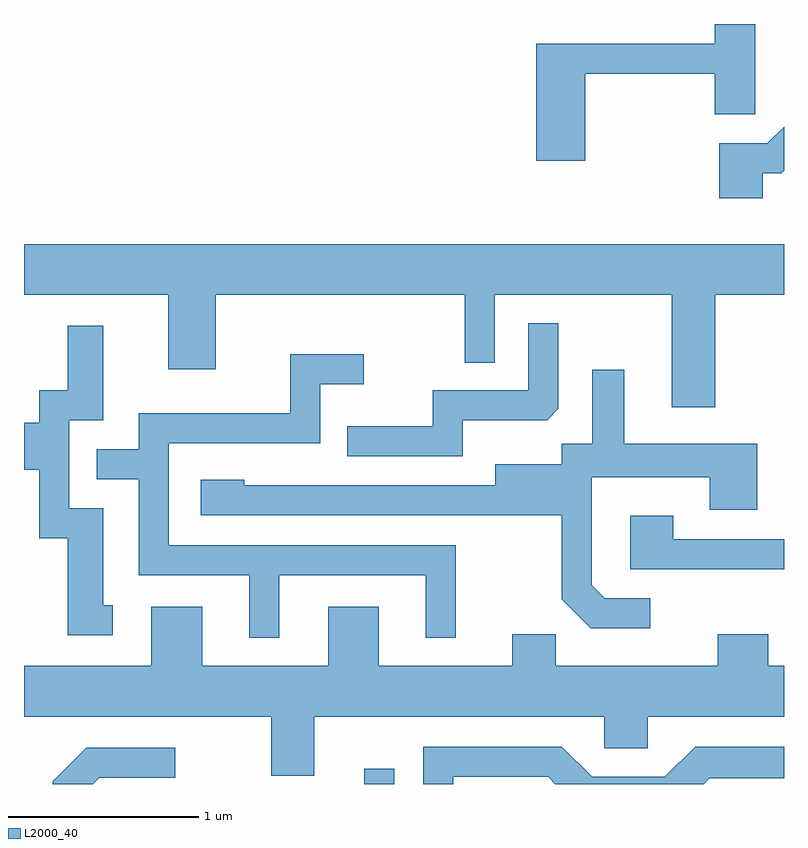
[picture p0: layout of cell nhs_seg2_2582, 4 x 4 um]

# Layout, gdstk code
import gdstk
lib = gdstk.Library(unit=1e-6, precision=1e-09)
def R(c, l, rs):  # rectangles x0, y0, x1, y1
    for r in rs: c.add(gdstk.rectangle(r[:2], r[2:], *l))
def P(c, l, *ps):  # polygons
    for p in ps: c.add(gdstk.Polygon(p, *l))
L2000_40 = (2000, 40)

nhs_seg2_2582 = lib.new_cell('nhs_seg2_2582')
R(nhs_seg2_2582, L2000_40, [(263.401,985.802,263.559,985.883)])
P(nhs_seg2_2582, L2000_40, [(264.564,989.541),(265.246,989.541),(265.246,989.326),(265.459,989.326),(265.459,989.802),(265.246,989.802),(265.246,989.699),(264.306,989.699),(264.306,989.081),(264.564,989.081)],
  [(265.499,989.016),(265.597,989.016),(265.611,989.03),(265.611,989.262),(265.524,989.174),(265.271,989.174),(265.271,988.886),(265.499,988.886)],
  [(265.249,988.376),(265.611,988.376),(265.611,988.644),(261.611,988.644),(261.611,988.376),(262.371,988.376),(262.371,987.986),(262.619,987.986),(262.619,988.376),(263.931,988.376),(263.931,988.018),(264.089,988.018),(264.089,988.376),(265.021,988.376),(265.021,987.786),(265.249,987.786)],
  [(263.919,987.716),(264.364,987.716),(264.424,987.777),(264.424,988.228),(264.266,988.228),(264.266,987.874),(263.761,987.874),(263.761,987.684),(263.313,987.684),(263.313,987.526),(263.919,987.526)],
  [(262.078,986.744),(262.029,986.744),(262.029,987.254),(261.849,987.254),(261.849,987.716),(262.029,987.716),(262.029,988.214),(261.841,988.214),(261.841,987.874),(261.691,987.874),(261.691,987.704),(261.611,987.704),(261.611,987.456),(261.691,987.456),(261.691,987.096),(261.841,987.096),(261.841,986.586),(262.078,986.586)],
  [(262.954,986.901),(263.726,986.901),(263.726,986.573),(263.884,986.573),(263.884,987.059),(262.374,987.059),(262.374,987.596),(263.169,987.596),(263.169,987.906),(263.398,987.906),(263.398,988.064),(263.011,988.064),(263.011,987.754),(262.216,987.754),(262.216,987.564),(261.993,987.564),(261.993,987.406),(262.216,987.406),(262.216,986.901),(262.796,986.901),(262.796,986.573),(262.954,986.573)],
  [(264.908,986.779),(264.667,986.779),(264.599,986.847),(264.599,987.416),(265.221,987.416),(265.221,987.246),(265.469,987.246),(265.469,987.594),(264.769,987.594),(264.769,987.983),(264.601,987.983),(264.601,987.594),(264.441,987.594),(264.441,987.484),(264.091,987.484),(264.091,987.374),(262.769,987.374),(262.769,987.404),(262.541,987.404),(262.541,987.216),(264.441,987.216),(264.441,986.774),(264.594,986.621),(264.908,986.621)],
  [(265.611,987.089),(265.029,987.089),(265.029,987.214),(264.801,987.214),(264.801,986.931),(265.611,986.931)],
  [(263.139,986.156),(264.666,986.156),(264.666,985.991),(264.894,985.991),(264.894,986.156),(265.611,986.156),(265.611,986.424),(265.529,986.424),(265.529,986.589),(265.261,986.589),(265.261,986.424),(264.409,986.424),(264.409,986.589),(264.181,986.589),(264.181,986.424),(263.479,986.424),(263.479,986.734),(263.211,986.734),(263.211,986.424),(262.549,986.424),(262.549,986.734),(262.281,986.734),(262.281,986.424),(261.611,986.424),(261.611,986.156),(262.911,986.156),(262.911,985.846),(263.139,985.846)],
  [(263.869,985.841),(264.369,985.841),(264.408,985.802),(265.188,985.802),(265.217,985.831),(265.611,985.831),(265.611,985.999),(265.144,985.999),(264.984,985.839),(264.602,985.839),(264.442,985.999),(263.711,985.999),(263.711,985.802),(263.869,985.802)],
  [(262.007,985.836),(262.408,985.836),(262.408,985.994),(261.939,985.994),(261.761,985.817),(261.761,985.802),(261.973,985.802)])

lib.write_gds('nhs_seg2_2582.gds')
